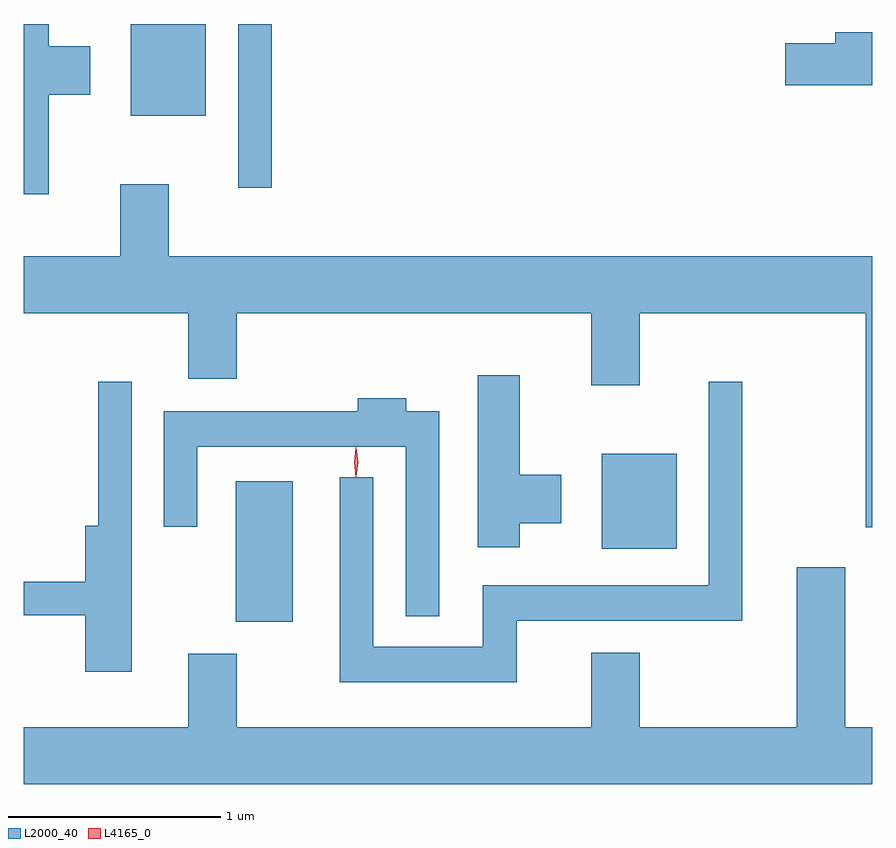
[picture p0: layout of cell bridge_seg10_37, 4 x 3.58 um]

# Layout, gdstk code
import gdstk
lib = gdstk.Library(unit=1e-6, precision=1e-09)
def R(c, l, rs):  # rectangles x0, y0, x1, y1
    for r in rs: c.add(gdstk.rectangle(r[:2], r[2:], *l))
def P(c, l, *ps):  # polygons
    for p in ps: c.add(gdstk.Polygon(p, *l))
L2000_40 = (2000, 40)
L4165_0 = (4165, 0)

bridge_seg10_37 = lib.new_cell('bridge_seg10_37')
R(bridge_seg10_37, L2000_40, [(1589.446,2203.481,1589.714,2204.144), (1591.171,2203.826,1591.524,2204.274), (1589.456,2205.528,1589.614,2206.299), (1588.951,2205.866,1589.304,2206.299)])
P(bridge_seg10_37, L2000_40, [(1588.564,2205.966),(1588.759,2205.966),(1588.759,2206.194),(1588.564,2206.194),(1588.564,2206.299),(1588.446,2206.299),(1588.446,2205.496),(1588.564,2205.496)],
  [(1592.446,2206.259),(1592.271,2206.259),(1592.271,2206.209),(1592.036,2206.209),(1592.036,2206.011),(1592.446,2206.011)],
  [(1592.446,2205.204),(1589.129,2205.204),(1589.129,2205.544),(1588.901,2205.544),(1588.901,2205.204),(1588.446,2205.204),(1588.446,2204.936),(1589.221,2204.936),(1589.221,2204.626),(1589.449,2204.626),(1589.449,2204.936),(1591.121,2204.936),(1591.121,2204.596),(1591.349,2204.596),(1591.349,2204.936),(1592.416,2204.936),(1592.416,2203.926),(1592.446,2203.926)],
  [(1590.784,2203.946),(1590.979,2203.946),(1590.979,2204.174),(1590.784,2204.174),(1590.784,2204.644),(1590.586,2204.644),(1590.586,2203.831),(1590.784,2203.831)],
  [(1590.769,2203.486),(1591.834,2203.486),(1591.834,2204.613),(1591.676,2204.613),(1591.676,2203.654),(1590.611,2203.654),(1590.611,2203.364),(1590.094,2203.364),(1590.094,2204.163),(1589.936,2204.163),(1589.936,2203.196),(1590.769,2203.196)],
  [(1588.954,2204.613),(1588.796,2204.613),(1588.796,2203.934),(1588.736,2203.934),(1588.736,2203.669),(1588.446,2203.669),(1588.446,2203.511),(1588.736,2203.511),(1588.736,2203.246),(1588.954,2203.246)],
  [(1590.404,2204.474),(1590.249,2204.474),(1590.249,2204.534),(1590.021,2204.534),(1590.021,2204.474),(1589.106,2204.474),(1589.106,2203.928),(1589.264,2203.928),(1589.264,2204.306),(1590.246,2204.306),(1590.246,2203.508),(1590.404,2203.508)],
  [(1592.446,2202.984),(1592.319,2202.984),(1592.319,2203.739),(1592.091,2203.739),(1592.091,2202.984),(1591.349,2202.984),(1591.349,2203.334),(1591.121,2203.334),(1591.121,2202.984),(1589.449,2202.984),(1589.449,2203.329),(1589.221,2203.329),(1589.221,2202.984),(1588.446,2202.984),(1588.446,2202.716),(1592.446,2202.716)])
P(bridge_seg10_37, L4165_0, [(1590.012,2204.164),(1590.003,2204.233),(1590.012,2204.302),(1590.013,2204.303),(1590.013,2204.302),(1590.023,2204.233),(1590.013,2204.164),(1590.013,2204.164)],
  [(1590.013,2204.167),(1590.012,2204.168),(1590.003,2204.234),(1590.012,2204.3),(1590.013,2204.3),(1590.013,2204.3),(1590.023,2204.234),(1590.013,2204.168)])

lib.write_gds('bridge_seg10_37.gds')
